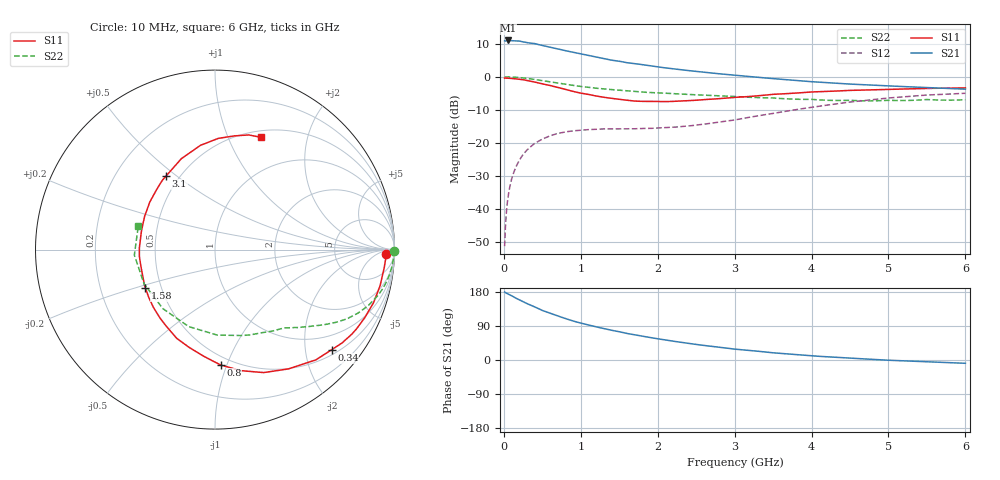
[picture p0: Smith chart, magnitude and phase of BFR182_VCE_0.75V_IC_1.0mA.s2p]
! Infineon Technologies  Discrete & RF Semiconductors
! BFR182
! VCE = 0.75 V,  IC =  1.0 mA
! Common Emitter S-Parameters:  Nov 2015
# GHz  S  MA  R  50
!  f  S11  S21  S12  S22
! GHz  MAG  ANG  MAG  ANG  MAG  ANG  MAG  ANG
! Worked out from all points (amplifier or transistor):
!   210 points, 10 MHz to 6 GHz, reference 50 ohm
!   highest |S21| = 11.0 dB at 50 MHz (marker M1)
!   |S21| within 3 dB of that: start of sweep to 781.7 MHz
!   unconditionally stable (mu >= 1): 1.7 GHz to 3.575 GHz
!   at 185 MHz: K = 0.13, MSG = 18.4 dB, |S12| = -26.1 dB
!   at 1.52 GHz: K = 0.90, MSG = 10.2 dB, |S12| = -15.8 dB
!   at 6 GHz: K = 1.00, MSG = 0.6 dB, |S12| = -5.0 dB
!   S11 on the Smith chart (normalised r, x): 10 MHz: 32, -16; 340 MHz: 0.61, -2.57; 800 MHz: 0.43, -0.95; 1.58 GHz: 0.41, -0.22; 3.1 GHz: 0.42, +0.46; 6 GHz: 0.58, +1.33
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0.01  0.9513 -1.4  3.503 179.3  0.0027 86.0  0.9973 -0.6
0.025  0.9523 -3.0  3.481 177.3  0.0065 85.9  0.9891 -1.4
0.05  0.9483 -6.0  3.542 174.9  0.0136 84.5  0.9957 -2.8
0.09  0.9422 -11.0  3.525 170.9  0.025 81.5  0.9912 -5.0
0.15  0.9316 -18.5  3.471 163.8  0.0408 77.9  0.9819 -8.3
0.2  0.9167 -24.4  3.469 159.0  0.0537 74.8  0.9714 -10.8
0.26  0.8962 -31.7  3.354 152.9  0.0684 70.4  0.9553 -13.8
0.34  0.8562 -40.7  3.235 145.6  0.0851 65.3  0.9296 -17.3
0.4  0.8326 -47.6  3.178 140.2  0.0973 61.6  0.9097 -20.0
0.5  0.7805 -58.4  2.978 130.8  0.113 55.9  0.8714 -24.0
0.7  0.6901 -77.8  2.643 116.3  0.138 46.8  0.8018 -29.9
0.8  0.6437 -87.2  2.481 109.3  0.1458 43.2  0.7694 -32.2
0.9  0.5986 -95.8  2.349 102.9  0.1511 40.1  0.7387 -34.5
1.02  0.5579 -106.4  2.195 96.4  0.1553 37.3  0.7067 -36.8
1.26  0.4961 -125.8  1.919 84.7  0.1608 33.4  0.6587 -40.8
1.58  0.4432 -151.0  1.647 71.0  0.1624 31.9  0.6138 -45.2
2.02  0.4208 177.4  1.396 55.4  0.1676 35.9  0.5675 -51.7
2.56  0.4453 145.9  1.184 39.5  0.1879 43.1  0.5277 -61.9
3.1  0.4927 123.5  1.029 26.9  0.2321 47.7  0.4934 -75.7
4.1  0.592 95.9  0.826 9.7  0.3571 44.0  0.4449 -113.2
5.1  0.6469 78.8  0.717 -1.4  0.4851 30.3  0.4359 -158.6
6  0.6762 67.6  0.647 -8.7  0.5609 15.2  0.4471 163.0
